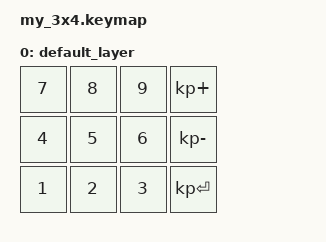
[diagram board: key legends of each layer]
#include <behaviors.dtsi>
#include <dt-bindings/zmk/keys.h>

 / {
    keymap {
        compatible = "zmk,keymap";

        default_layer {
            bindings = <
                &kp N7 &kp N8 &kp N9 &kp KP_PLUS
                &kp N4 &kp N5 &kp N6 &kp KP_MINUS
                &kp N1 &kp N2 &kp N3 &kp KP_ENTER
            >;
        };
    };
};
